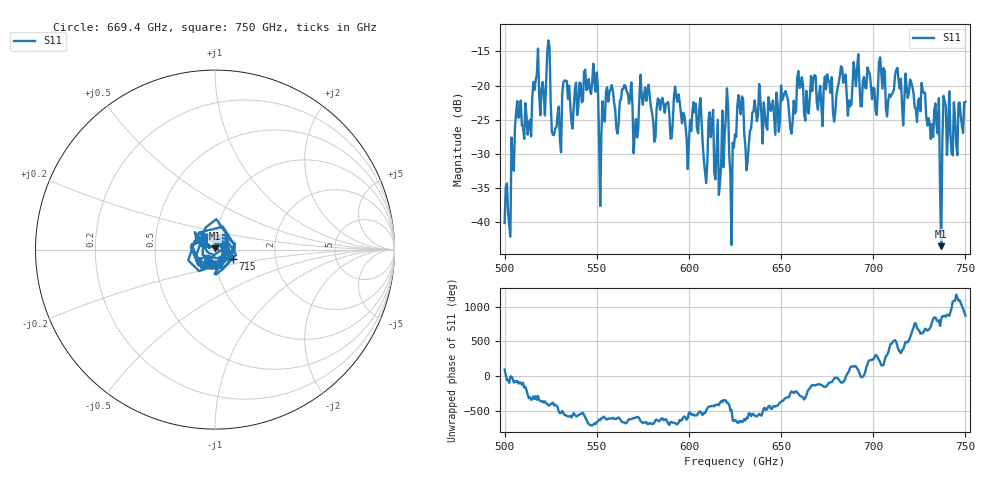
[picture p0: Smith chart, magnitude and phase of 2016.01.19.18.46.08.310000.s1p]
!Created with skrf (http://scikit-rf.org).
# GHz S RI R 50.0
!freq ReS11 ImS11
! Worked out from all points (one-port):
!   401 points, 500 GHz to 750 GHz, reference 50 ohm
!   lowest |S11| = -43.5 dB at 736.9 GHz (marker M1), VSWR 1.01, Z = 49.9 + j0.654 ohm
!   |S11| at or under -10 dB: start of sweep to end of sweep
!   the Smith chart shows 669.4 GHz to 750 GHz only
!   S11 on the Smith chart (normalised r, x): 669.4 GHz: 0.92, -0.12; 715 GHz: 1.21, -0.13; 750 GHz: 0.87, +0.07
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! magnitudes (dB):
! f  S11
! 500 GHz  -40.1
! 507.5 GHz  -24.7
! 513.1 GHz  -25.7
! 516.9 GHz  -19.2
! 523.8 GHz  -13.4
! 526.9 GHz  -27.2
! 531.2 GHz  -21.3
! 548.8 GHz  -19.4
! 552.5 GHz  -27.2
! 562.5 GHz  -22.2
! 593.8 GHz  -22.4
! 600 GHz  -28.3
! 605 GHz  -27.0
! 608.8 GHz  -32.6
! 611.9 GHz  -27.6
! 615.6 GHz  -25.0
! 620.6 GHz  -20.4
! 623.1 GHz  -43.4
! 625 GHz  -27.1
! 656.2 GHz  -25.4
! 660 GHz  -20.4
! 669.4 GHz  -22.5
! 687.5 GHz  -23.0
! 690.6 GHz  -20.1
! 715 GHz  -19.0
! 718.8 GHz  -21.8
! 736.9 GHz  -43.5
! 750 GHz  -22.4
